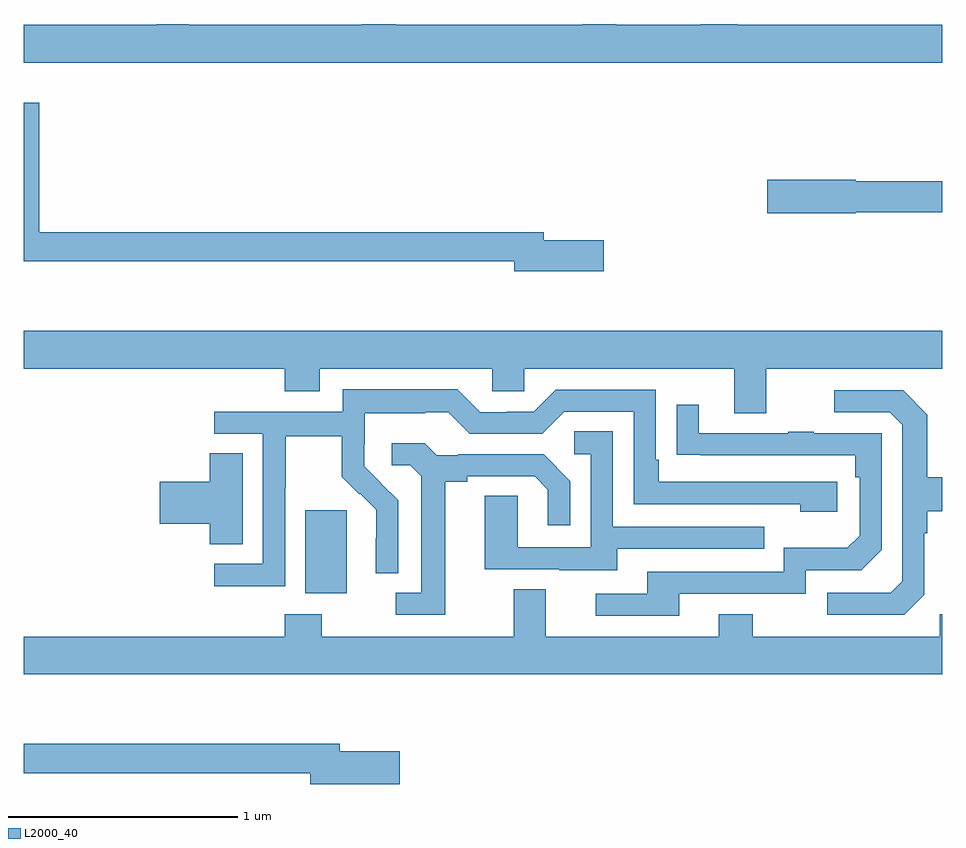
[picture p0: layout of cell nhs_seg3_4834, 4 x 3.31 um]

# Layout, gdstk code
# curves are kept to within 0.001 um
import gdstk
lib = gdstk.Library(unit=1e-6, precision=1e-09)
def R(c, l, rs):  # rectangles x0, y0, x1, y1
    for r in rs: c.add(gdstk.rectangle(r[:2], r[2:], *l))
def P(c, l, *ps):  # polygons
    for p in ps: c.add(gdstk.Polygon(p, *l))
L2000_40 = (2000, 40)

nhs_seg3_4834 = lib.new_cell('nhs_seg3_4834')
R(nhs_seg3_4834, L2000_40, [(372.227,715.922,372.406,716.283)])
P(nhs_seg3_4834, L2000_40, [(375,718.396),(374.108,718.396),(374.108,718.4),(373.948,718.4),(373.948,718.396),(373.581,718.396),(373.581,718.4),(373.434,718.4),(373.434,718.396),(372.621,718.396),(372.621,718.4),(372.473,718.4),(372.473,718.396),(371.719,718.396),(371.719,718.4),(371.579,718.4),(371.579,718.396),(371,718.396),(371,718.232),(375,718.232)],
  [(373.525,717.458),(373.264,717.458),(373.264,717.494),(371.069,717.494),(371.069,718.057),(371,718.057),(371,717.366),(373.136,717.366),(373.136,717.323),(373.525,717.323)],
  [(374.622,717.58),(375,717.58),(375,717.716),(374.622,717.716),(374.622,717.722),(374.238,717.722),(374.238,717.575),(374.622,717.575)],
  [(371,716.9),(372.137,716.9),(372.137,716.801),(372.289,716.801),(372.289,716.9),(373.041,716.9),(373.041,716.802),(373.179,716.802),(373.179,716.9),(374.093,716.9),(374.093,716.706),(374.233,716.706),(374.233,716.9),(375,716.9),(375,717.064),(371,717.064)],
  [(372.138,716.38),(372.141,716.38),(372.141,716.604),(372.385,716.604),(372.385,716.429),(372.462,716.352),(372.465,716.355),(372.536,716.285),(372.536,716.162),(372.534,716.162),(372.534,716.008),(372.63,716.008),(372.63,716.326),(372.484,716.474),(372.484,716.571),(372.486,716.571),(372.486,716.705),(372.749,716.705),(372.749,716.709),(372.849,716.709),(372.942,716.616),(373.257,716.616),(373.353,716.712),(373.656,716.712),(373.656,716.31),(374.381,716.31),(374.381,716.276),(374.542,716.276),(374.542,716.406),(373.765,716.406),(373.765,716.503),(373.752,716.503),(373.752,716.808),(373.317,716.808),(373.221,716.712),(373.103,716.712),(373.103,716.709),(372.987,716.709),(372.887,716.809),(372.39,716.809),(372.39,716.712),(371.829,716.712),(371.829,716.616),(372.042,716.616),(372.042,716.049),(371.829,716.049),(371.829,715.951),(372.138,715.951)],
  [(374.922,715.914),(374.922,716.183),(374.935,716.183),(374.935,716.279),(375,716.279),(375,716.427),(374.935,716.427),(374.935,716.699),(374.829,716.805),(374.529,716.805),(374.529,716.709),(374.772,716.709),(374.826,716.655),(374.826,715.974),(374.775,715.923),(374.499,715.923),(374.499,715.827),(374.835,715.827)],
  [(373.855,715.92),(374.406,715.92),(374.406,716.022),(374.646,716.022),(374.736,716.112),(374.736,716.619),(374.441,716.619),(374.441,716.624),(374.329,716.624),(374.329,716.619),(373.939,716.619),(373.939,716.743),(373.843,716.743),(373.843,716.524),(374.62,716.523),(374.62,716.426),(374.64,716.426),(374.64,716.172),(374.587,716.119),(374.31,716.119),(374.31,716.016),(373.715,716.016),(373.715,715.92),(373.491,715.92),(373.491,715.824),(373.855,715.824)],
  [(373.585,716.115),(374.225,716.115),(374.225,716.211),(373.566,716.211),(373.566,716.627),(373.398,716.627),(373.398,716.526),(373.47,716.526),(373.47,716.121),(373.152,716.121),(373.152,716.345),(373.007,716.345),(373.007,716.025),(373.331,716.025),(373.331,716.021),(373.585,716.021)],
  [(372.835,716.408),(372.931,716.408),(372.931,716.43),(373.226,716.43),(373.283,716.373),(373.283,716.217),(373.38,716.217),(373.38,716.41),(373.264,716.526),(372.892,716.526),(372.892,716.523),(372.798,716.523),(372.746,716.575),(372.603,716.575),(372.603,716.478),(372.684,716.478),(372.731,716.431),(372.731,715.923),(372.621,715.923),(372.621,715.827),(372.835,715.827)],
  [(371.953,716.531),(371.81,716.531),(371.81,716.408),(371.592,716.408),(371.592,716.225),(371.81,716.225),(371.81,716.134),(371.953,716.134)],
  [(375,715.831),(374.988,715.831),(374.988,715.732),(374.175,715.732),(374.175,715.831),(374.027,715.831),(374.027,715.732),(373.273,715.732),(373.273,715.94),(373.133,715.94),(373.133,715.732),(372.297,715.732),(372.297,715.831),(372.137,715.831),(372.137,715.732),(371,715.732),(371,715.568),(375,715.568)],
  [(372.637,715.233),(372.376,715.233),(372.376,715.267),(371,715.267),(371,715.138),(372.248,715.138),(372.248,715.091),(372.637,715.091)])

lib.write_gds('nhs_seg3_4834.gds')
